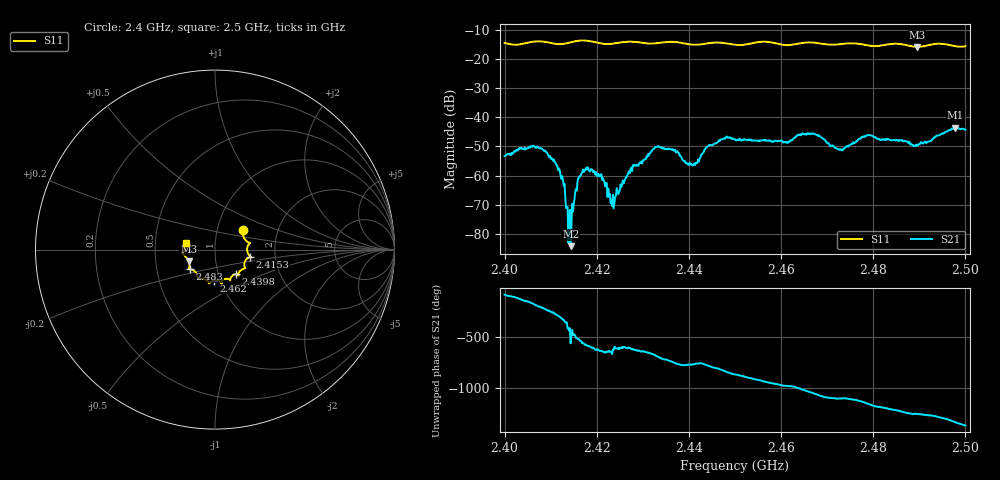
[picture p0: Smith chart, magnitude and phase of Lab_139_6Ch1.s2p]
# Hz S RI R 50
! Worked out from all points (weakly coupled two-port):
!   601 points, 2.4 GHz to 2.5 GHz, reference 50 ohm
!   highest |S21| = -43.54 dB at 2.4978 GHz (marker M1); lowest = -84.2 dB at 2.4143 GHz (marker M2)
!   lowest |S11| = -15.9 dB at 2.4895 GHz (marker M3), VSWR 1.38, Z = 36.9 - j4.99 ohm
!   |S11| at or under -10 dB: start of sweep to end of sweep
!   S12 and S22 are empty: the file has one direction only
!   S11 on the Smith chart (normalised r, x): 2.4 GHz: 1.33, +0.29; 2.4153 GHz: 1.48, -0.12; 2.4398 GHz: 1.21, -0.34; 2.462 GHz: 0.93, -0.33; 2.483 GHz: 0.74, -0.17; 2.5 GHz: 0.72, +0.06
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2.4e9  0.155 0.1066  0.000267 -0.00215  0 0  0 0
2.408833e9  0.1925 0.035  -0.00184 0.00196  0 0  0 0
2.412167e9  0.1786 -0.00289  0.000644 0.000754  0 0  0 0
2.413833e9  0.1862 -0.0257  4.11e-05 -5.7e-05  0 0  0 0
2.414333e9  0.1896 -0.0313  -5.76e-05 2.24e-05  0 0  0 0
2.415333e9  0.1964 -0.0387  -0.00031 -0.000437  0 0  0 0
2.416667e9  0.2021 -0.0427  -0.00109 6.5e-05  0 0  0 0
2.420833e9  0.1767 -0.0521  9.43e-05 0.00105  0 0  0 0
2.4235e9  0.1628 -0.0818  -5.4e-05 0.000469  0 0  0 0
2.427833e9  0.1671 -0.1034  -0.000191 0.0015  0 0  0 0
2.433333e9  0.131 -0.1337  0.00289 0.0014  0 0  0 0
2.439833e9  0.1152 -0.1365  0.000959 -0.00119  0 0  0 0
2.45e9  0.0646 -0.1625  -0.00351 -0.00228  0 0  0 0
2.462e9  -0.00519 -0.1732  -0.0005 0.00394  0 0  0 0
2.466667e9  -0.0343 -0.1877  0.00424 0.00305  0 0  0 0
2.472833e9  -0.0785 -0.1603  0.00259 -0.00101  0 0  0 0
2.478833e9  -0.1024 -0.1359  0.00145 -0.00467  0 0  0 0
2.483e9  -0.1377 -0.1096  -0.00211 -0.00374  0 0  0 0
2.483333e9  -0.1402 -0.1092  -0.00234 -0.0035  0 0  0 0
2.4895e9  -0.1464 -0.0658  -0.00325 -0.000324  0 0  0 0
2.497833e9  -0.1646 0.00335  -0.00151 0.00648  0 0  0 0
2.5e9  -0.1596 0.0394  0.00179 0.00585  0 0  0 0
